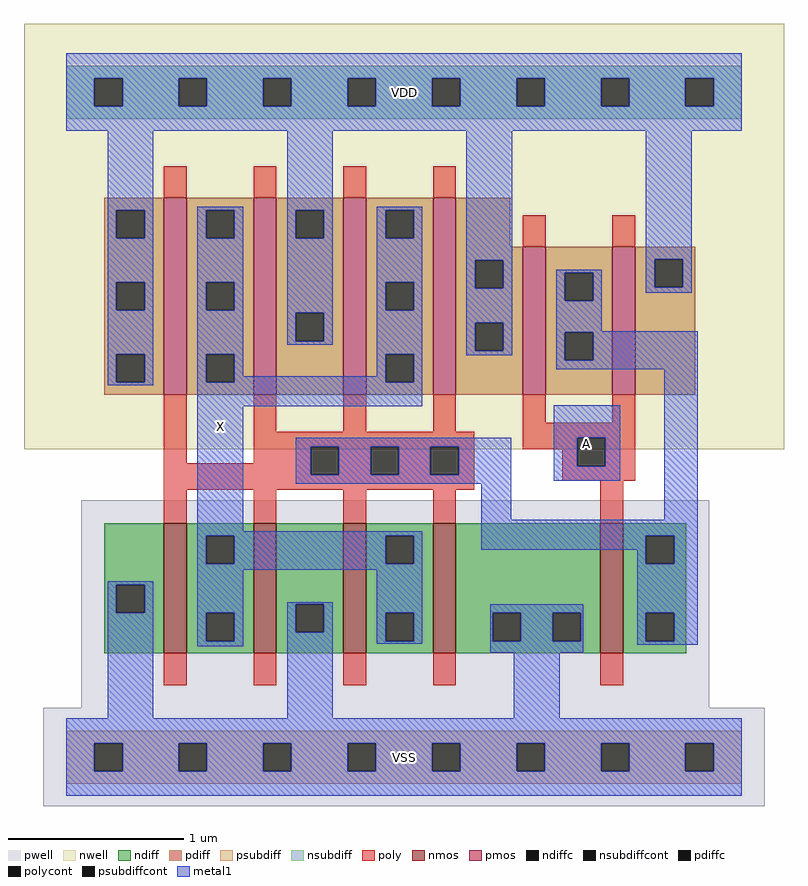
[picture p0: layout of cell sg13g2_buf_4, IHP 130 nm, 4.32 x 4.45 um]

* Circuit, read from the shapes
.subckt sg13g2_buf_4 X VSS A VDD
XM1 X n1 VSS VSS sg13_lv_nmos w=0.74u l=0.13u m=4
XM2 n1 A VSS VSS sg13_lv_nmos w=0.74u l=0.13u
XM3 X n1 VDD VDD sg13_lv_pmos w=1.12u l=0.13u m=4
XM4 n1 A VDD VDD sg13_lv_pmos w=0.84u l=0.13u m=2
.ends

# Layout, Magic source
magic
tech ihp-sg13g2
magscale 1 2
<< nwell >>
rect -48 350 816 834
<< pwell >>
rect 17 56 731 292
rect -26 -56 794 56
<< nmos >>
rect 111 118 137 266
rect 213 118 239 266
rect 315 118 341 266
rect 417 118 443 266
rect 607 118 633 266
<< pmos >>
rect 111 412 137 636
rect 213 412 239 636
rect 315 412 341 636
rect 417 412 443 636
rect 519 412 545 580
rect 621 412 647 580
<< ndiff >>
rect 43 196 111 266
rect 43 164 57 196
rect 89 164 111 196
rect 43 118 111 164
rect 137 252 213 266
rect 137 220 159 252
rect 191 220 213 252
rect 137 164 213 220
rect 137 132 159 164
rect 191 132 213 164
rect 137 118 213 132
rect 239 174 315 266
rect 239 142 261 174
rect 293 142 315 174
rect 239 118 315 142
rect 341 252 417 266
rect 341 220 363 252
rect 395 220 417 252
rect 341 164 417 220
rect 341 132 363 164
rect 395 132 417 164
rect 341 118 417 132
rect 443 164 607 266
rect 443 132 485 164
rect 517 132 553 164
rect 585 132 607 164
rect 443 118 607 132
rect 633 252 705 266
rect 633 220 659 252
rect 691 220 705 252
rect 633 164 705 220
rect 633 132 659 164
rect 691 132 705 164
rect 633 118 705 132
<< pdiff >>
rect 43 622 111 636
rect 43 590 57 622
rect 89 590 111 622
rect 43 540 111 590
rect 43 508 57 540
rect 89 508 111 540
rect 43 458 111 508
rect 43 426 57 458
rect 89 426 111 458
rect 43 412 111 426
rect 137 622 213 636
rect 137 590 159 622
rect 191 590 213 622
rect 137 540 213 590
rect 137 508 159 540
rect 191 508 213 540
rect 137 458 213 508
rect 137 426 159 458
rect 191 426 213 458
rect 137 412 213 426
rect 239 622 315 636
rect 239 590 261 622
rect 293 590 315 622
rect 239 505 315 590
rect 239 473 261 505
rect 293 473 315 505
rect 239 412 315 473
rect 341 622 417 636
rect 341 590 363 622
rect 395 590 417 622
rect 341 540 417 590
rect 341 508 363 540
rect 395 508 417 540
rect 341 458 417 508
rect 341 426 363 458
rect 395 426 417 458
rect 341 412 417 426
rect 443 580 505 636
rect 443 565 519 580
rect 443 533 465 565
rect 497 533 519 565
rect 443 494 519 533
rect 443 462 465 494
rect 497 462 519 494
rect 443 412 519 462
rect 545 551 621 580
rect 545 519 567 551
rect 599 519 621 551
rect 545 483 621 519
rect 545 451 567 483
rect 599 451 621 483
rect 545 412 621 451
rect 647 566 715 580
rect 647 534 669 566
rect 701 534 715 566
rect 647 412 715 534
<< ndiffc >>
rect 57 164 89 196
rect 159 220 191 252
rect 159 132 191 164
rect 261 142 293 174
rect 363 220 395 252
rect 363 132 395 164
rect 485 132 517 164
rect 553 132 585 164
rect 659 220 691 252
rect 659 132 691 164
<< pdiffc >>
rect 57 590 89 622
rect 57 508 89 540
rect 57 426 89 458
rect 159 590 191 622
rect 159 508 191 540
rect 159 426 191 458
rect 261 590 293 622
rect 261 473 293 505
rect 363 590 395 622
rect 363 508 395 540
rect 363 426 395 458
rect 465 533 497 565
rect 465 462 497 494
rect 567 519 599 551
rect 567 451 599 483
rect 669 534 701 566
<< psubdiff >>
rect 0 16 768 30
rect 0 -16 32 16
rect 64 -16 128 16
rect 160 -16 224 16
rect 256 -16 320 16
rect 352 -16 416 16
rect 448 -16 512 16
rect 544 -16 608 16
rect 640 -16 704 16
rect 736 -16 768 16
rect 0 -30 768 -16
<< nsubdiff >>
rect 0 772 768 786
rect 0 740 32 772
rect 64 740 128 772
rect 160 740 224 772
rect 256 740 320 772
rect 352 740 416 772
rect 448 740 512 772
rect 544 740 608 772
rect 640 740 704 772
rect 736 740 768 772
rect 0 726 768 740
<< psubdiffcont >>
rect 32 -16 64 16
rect 128 -16 160 16
rect 224 -16 256 16
rect 320 -16 352 16
rect 416 -16 448 16
rect 512 -16 544 16
rect 608 -16 640 16
rect 704 -16 736 16
<< nsubdiffcont >>
rect 32 740 64 772
rect 128 740 160 772
rect 224 740 256 772
rect 320 740 352 772
rect 416 740 448 772
rect 512 740 544 772
rect 608 740 640 772
rect 704 740 736 772
<< poly >>
rect 111 636 137 672
rect 213 636 239 672
rect 315 636 341 672
rect 417 636 443 672
rect 519 580 545 616
rect 621 580 647 616
rect 111 334 137 412
rect 213 370 239 412
rect 315 370 341 412
rect 417 370 443 412
rect 519 380 545 412
rect 621 380 647 412
rect 213 353 464 370
rect 213 334 278 353
rect 111 321 278 334
rect 310 321 346 353
rect 378 321 414 353
rect 446 321 464 353
rect 519 363 647 380
rect 519 350 581 363
rect 111 304 464 321
rect 564 331 581 350
rect 613 331 647 363
rect 564 314 647 331
rect 111 266 137 304
rect 213 266 239 304
rect 315 266 341 304
rect 417 266 443 304
rect 607 266 633 314
rect 111 82 137 118
rect 213 82 239 118
rect 315 82 341 118
rect 417 82 443 118
rect 607 82 633 118
<< polycont >>
rect 278 321 310 353
rect 346 321 378 353
rect 414 321 446 353
rect 581 331 613 363
<< metal1 >>
rect 0 772 768 800
rect 0 740 32 772
rect 64 740 128 772
rect 160 740 224 772
rect 256 740 320 772
rect 352 740 416 772
rect 448 740 512 772
rect 544 740 608 772
rect 640 740 704 772
rect 736 740 768 772
rect 0 712 768 740
rect 47 622 99 712
rect 47 590 57 622
rect 89 590 99 622
rect 47 540 99 590
rect 47 508 57 540
rect 89 508 99 540
rect 47 458 99 508
rect 47 426 57 458
rect 89 426 99 458
rect 47 423 99 426
rect 149 622 201 626
rect 149 590 159 622
rect 191 590 201 622
rect 149 540 201 590
rect 149 508 159 540
rect 191 508 201 540
rect 149 458 201 508
rect 251 622 303 712
rect 251 590 261 622
rect 293 590 303 622
rect 251 505 303 590
rect 251 473 261 505
rect 293 473 303 505
rect 251 469 303 473
rect 353 622 405 626
rect 353 590 363 622
rect 395 590 405 622
rect 353 540 405 590
rect 353 508 363 540
rect 395 508 405 540
rect 149 426 159 458
rect 191 433 201 458
rect 353 458 405 508
rect 353 433 363 458
rect 191 426 363 433
rect 395 426 405 458
rect 455 565 507 712
rect 455 533 465 565
rect 497 533 507 565
rect 659 566 711 712
rect 455 494 507 533
rect 455 462 465 494
rect 497 462 507 494
rect 455 457 507 462
rect 557 551 609 554
rect 557 519 567 551
rect 599 519 609 551
rect 659 534 669 566
rect 701 534 711 566
rect 659 528 711 534
rect 557 484 609 519
rect 557 483 718 484
rect 557 451 567 483
rect 599 451 718 483
rect 557 441 718 451
rect 149 399 405 426
rect 149 257 201 399
rect 554 363 630 400
rect 261 353 506 363
rect 261 321 278 353
rect 310 321 346 353
rect 378 321 414 353
rect 446 321 506 353
rect 261 311 506 321
rect 554 331 581 363
rect 613 331 630 363
rect 554 314 630 331
rect 472 270 506 311
rect 680 270 718 441
rect 149 252 405 257
rect 149 220 159 252
rect 191 220 363 252
rect 395 220 405 252
rect 472 252 718 270
rect 472 236 659 252
rect 149 213 405 220
rect 47 196 99 200
rect 47 164 57 196
rect 89 164 99 196
rect 47 44 99 164
rect 149 164 201 213
rect 149 132 159 164
rect 191 132 201 164
rect 149 126 201 132
rect 251 174 303 176
rect 251 142 261 174
rect 293 142 303 174
rect 251 44 303 142
rect 353 164 405 213
rect 649 220 659 236
rect 691 220 718 252
rect 353 132 363 164
rect 395 132 405 164
rect 353 129 405 132
rect 482 164 588 174
rect 482 132 485 164
rect 517 132 553 164
rect 585 132 588 164
rect 482 119 588 132
rect 649 164 718 220
rect 649 132 659 164
rect 691 132 718 164
rect 649 128 718 132
rect 509 44 561 119
rect 0 16 768 44
rect 0 -16 32 16
rect 64 -16 128 16
rect 160 -16 224 16
rect 256 -16 320 16
rect 352 -16 416 16
rect 448 -16 512 16
rect 544 -16 608 16
rect 640 -16 704 16
rect 736 -16 768 16
rect 0 -44 768 -16
<< labels >>
flabel metal1 s 149 126 201 626 0 FreeSans 400 0 0 0 X
port 2 nsew
flabel metal1 s 0 -44 768 44 0 FreeSans 400 0 0 0 VSS
port 3 nsew
flabel metal1 s 554 314 630 400 0 FreeSans 400 0 0 0 A
port 4 nsew
flabel metal1 s 0 712 768 800 0 FreeSans 400 0 0 0 VDD
port 5 nsew
<< properties >>
string FIXED_BBOX 0 0 768 756
string GDS_END 43466
string GDS_FILE ../gds/controller.gds
string GDS_START 37234
<< end >>
